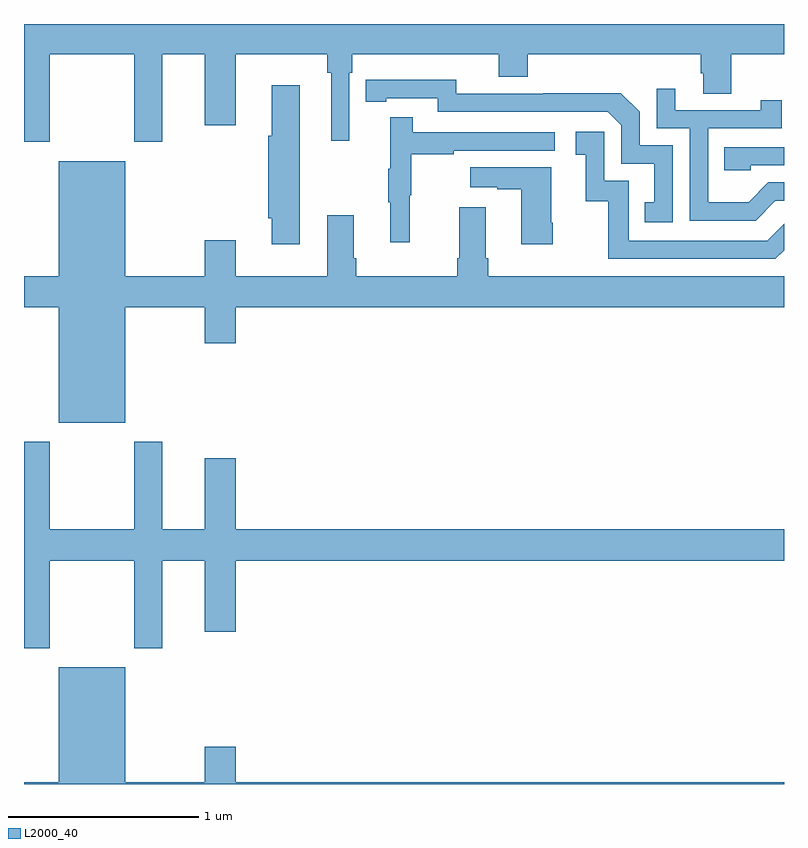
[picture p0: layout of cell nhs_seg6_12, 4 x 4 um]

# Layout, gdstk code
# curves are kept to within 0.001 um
import gdstk
lib = gdstk.Library(unit=1e-6, precision=1e-09)
def P(c, l, *ps):  # polygons
    for p in ps: c.add(gdstk.Polygon(p, *l))
L2000_40 = (2000, 40)

nhs_seg6_12 = lib.new_cell('nhs_seg6_12')
P(nhs_seg6_12, L2000_40, [(111.135,943.34),(111.58,943.34),(111.58,942.879),(111.727,942.879),(111.727,943.34),(111.95,943.34),(111.95,942.966),(112.114,942.966),(112.114,943.34),(112.597,943.34),(112.597,943.244),(112.616,943.244),(112.616,942.885),(112.713,942.885),(112.713,943.244),(112.727,943.244),(112.727,943.34),(113.498,943.34),(113.498,943.223),(113.651,943.223),(113.651,943.34),(114.563,943.34),(114.563,943.242),(114.575,943.242),(114.575,943.132),(114.723,943.132),(114.723,943.34),(115,943.34),(115,943.5),(111,943.5),(111,942.879),(111.135,942.879)],
  [(114.414,942.861),(114.24,942.861),(114.24,943.038),(114.142,943.136),(113.734,943.136),(113.734,943.134),(113.274,943.134),(113.274,943.207),(112.798,943.206),(112.798,943.09),(112.906,943.09),(112.906,943.11),(113.178,943.11),(113.178,943.038),(114.072,943.038),(114.144,942.966),(114.144,942.765),(114.317,942.765),(114.317,942.561),(114.268,942.561),(114.268,942.456),(114.414,942.456)],
  [(112.45,943.177),(112.304,943.177),(112.304,942.913),(112.286,942.913),(112.286,942.477),(112.304,942.477),(112.304,942.342),(112.45,942.342)],
  [(114.955,942.57),(115,942.57),(115,942.666),(114.918,942.666),(114.814,942.562),(114.6,942.562),(114.6,942.951),(114.989,942.951),(114.989,943.099),(114.878,943.099),(114.878,943.047),(114.427,943.047),(114.427,943.159),(114.33,943.159),(114.33,942.951),(114.504,942.951),(114.504,942.465),(114.85,942.465)],
  [(113.03,942.6),(113.038,942.6),(113.038,942.814),(113.261,942.814),(113.261,942.834),(113.794,942.834),(113.794,942.93),(113.045,942.93),(113.045,943.009),(112.928,943.009),(112.928,942.737),(112.917,942.737),(112.917,942.563),(112.928,942.563),(112.928,942.351),(113.03,942.351)],
  [(115,942.31),(115,942.448),(114.912,942.36),(114.183,942.36),(114.183,942.675),(114.054,942.675),(114.054,942.934),(113.904,942.934),(113.904,942.813),(113.957,942.813),(113.957,942.567),(114.075,942.567),(114.075,942.264),(114.954,942.264)],
  [(114.825,942.756),(115,942.756),(115,942.852),(114.685,942.852),(114.685,942.729),(114.825,942.729)],
  [(111.532,942.008),(111.95,942.008),(111.95,941.82),(112.114,941.82),(112.114,942.008),(115,942.008),(115,942.172),(113.444,942.172),(113.444,942.268),(113.431,942.268),(113.431,942.535),(113.291,942.535),(113.291,942.268),(113.279,942.268),(113.279,942.172),(112.748,942.172),(112.748,942.268),(112.735,942.268),(112.735,942.493),(112.595,942.493),(112.595,942.172),(112.114,942.172),(112.114,942.361),(111.95,942.361),(111.95,942.172),(111.532,942.172),(111.532,942.778),(111.182,942.778),(111.182,942.172),(111,942.172),(111,942.008),(111.182,942.008),(111.182,941.402),(111.532,941.402)],
  [(113.784,942.454),(113.776,942.454),(113.776,942.745),(113.349,942.745),(113.349,942.641),(113.492,942.641),(113.492,942.631),(113.618,942.631),(113.618,942.342),(113.784,942.342)],
  [(111.135,940.676),(111.58,940.676),(111.58,940.215),(111.727,940.215),(111.727,940.676),(111.95,940.676),(111.95,940.302),(112.114,940.302),(112.114,940.676),(115,940.676),(115,940.84),(112.114,940.84),(112.114,941.215),(111.95,941.215),(111.95,940.84),(111.727,940.84),(111.727,941.302),(111.58,941.302),(111.58,940.84),(111.135,940.84),(111.135,941.302),(111,941.302),(111,940.215),(111.135,940.215)],
  [(115,939.508),(112.114,939.508),(112.114,939.697),(111.95,939.697),(111.95,939.508),(111.532,939.508),(111.532,940.114),(111.182,940.114),(111.182,939.508),(111,939.508),(111,939.5),(115,939.5)])

lib.write_gds('nhs_seg6_12.gds')
